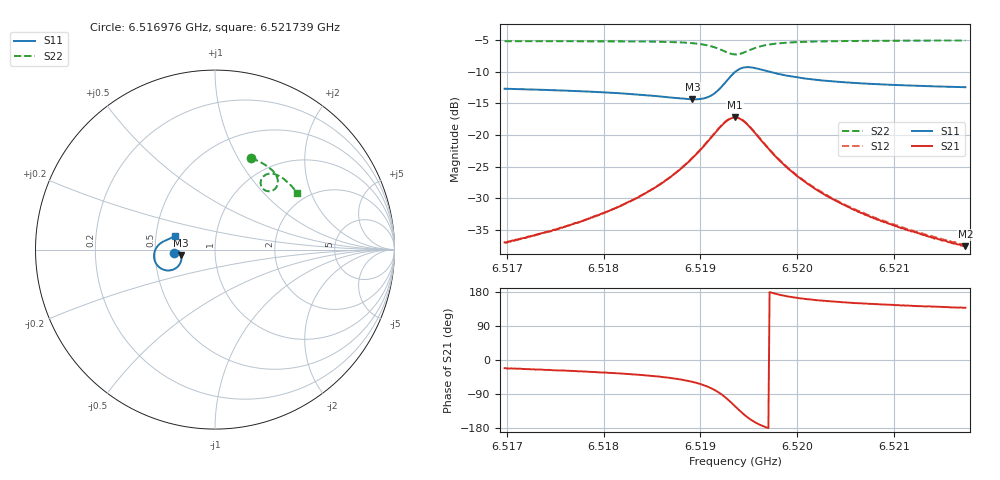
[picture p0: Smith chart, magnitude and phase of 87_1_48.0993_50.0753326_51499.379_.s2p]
#  HZ  S  RI  R  50.00
! Rohde & Schwarz Vector Network Analyzer
! Rohde-Schwarz,ZNB20-2Port,1311601062101988,3.16
! Created: UTC 12/23/2023, 3:43:22 AM
! freq[Hz]  re:S11  im:S11  re:S21  im:S21  re:S12  im:S12  re:S22  im:S22
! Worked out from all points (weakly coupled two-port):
!   401 points, 6.516976 GHz to 6.521739 GHz, reference 50 ohm
!   highest |S21| = -17.25 dB at 6.519357 GHz (marker M1); lowest = -37.6 dB at 6.521739 GHz (marker M2)
!   lowest |S11| = -14.4 dB at 6.518917 GHz (marker M3), VSWR 1.47, Z = 34.1 - j2.32 ohm
!   |S11| at or under -10 dB: start of sweep to 6.519364 GHz; 6.519705 GHz to end of sweep
!   |S22| runs from -7.3 to -5.1 dB; largest |S21 - S12| = 0.0041
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6.5169761e9  -0.2307 -0.0177  0.0132 -0.0052  0.0133 -0.00481  0.2018 0.51
6.5174405e9  -0.2256 -0.011  0.0155 -0.00764  0.0158 -0.00709  0.2363 0.4953
6.5177739e9  -0.2206 -0.00706  0.0181 -0.0104  0.0185 -0.00991  0.2608 0.4828
6.5182025e9  -0.2121 -0.00503  0.0228 -0.0166  0.0233 -0.0159  0.293 0.4627
6.5185716e9  -0.2013 -0.00969  0.029 -0.0277  0.03 -0.0271  0.3218 0.4387
6.5187621e9  -0.1939 -0.0181  0.0329 -0.0394  0.0344 -0.0386  0.3363 0.4209
6.5189169e9  -0.188 -0.0327  0.035 -0.0553  0.0369 -0.0546  0.3468 0.4002
6.519036e9  -0.1869 -0.0527  0.0325 -0.0751  0.035 -0.0746  0.3507 0.3777
6.5191312e9  -0.1942 -0.0768  0.0223 -0.0969  0.0253 -0.097  0.3459 0.3546
6.5192622e9  -0.2366 -0.1127  -0.021 -0.1254  -0.0175 -0.1269  0.313 0.3264
6.5193098e9  -0.2643 -0.1165  -0.0466 -0.126  -0.0433 -0.1283  0.2929 0.3255
6.5193574e9  -0.2939 -0.1089  -0.0724 -0.1166  -0.0696 -0.1193  0.2736 0.3337
6.5194051e9  -0.3188 -0.0906  -0.0925 -0.0975  -0.0905 -0.1009  0.2595 0.3496
6.5194646e9  -0.3365 -0.0593  -0.1047 -0.0684  -0.1036 -0.072  0.2539 0.3737
6.5195718e9  -0.3356 -0.00937  -0.0987 -0.0257  -0.0987 -0.0287  0.2684 0.4065
6.5196789e9  -0.3195 0.02  -0.0815 -0.00326  -0.0821 -0.00566  0.2912 0.4203
6.5199051e9  -0.289 0.0445  -0.0531 0.0115  -0.0541 0.0101  0.3301 0.421
6.5201552e9  -0.2687 0.0542  -0.0364 0.0138  -0.0372 0.0129  0.3589 0.4097
6.5205005e9  -0.2524 0.0608  -0.0244 0.013  -0.025 0.0124  0.3877 0.3901
6.5209529e9  -0.2395 0.0676  -0.0164 0.0112  -0.0169 0.011  0.4171 0.3634
6.5213935e9  -0.2306 0.0736  -0.0119 0.00982  -0.0126 0.00972  0.4413 0.3369
6.5217388e9  -0.2246 0.0783  -0.00984 0.00888  -0.0102 0.00886  0.4582 0.3152
